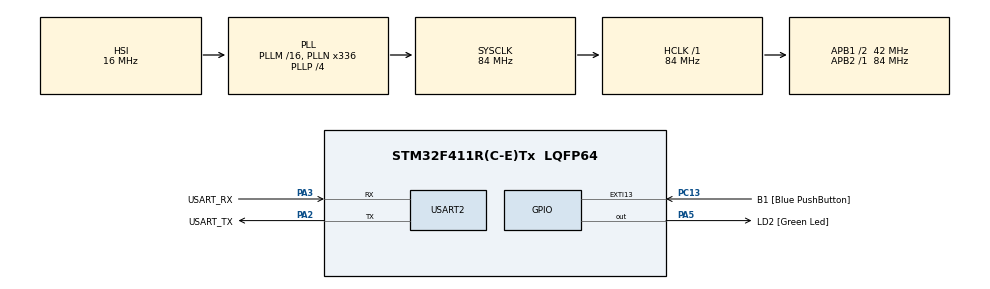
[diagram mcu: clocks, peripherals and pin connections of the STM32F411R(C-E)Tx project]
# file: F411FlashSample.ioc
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Mcu.Family=STM32F4
Mcu.Name=STM32F411R(C-E)Tx
Mcu.Package=LQFP64
NVIC.PriorityGroup=NVIC_PRIORITYGROUP_0
PA13.GPIO_Label=TMS
PA13.Signal=SYS_JTMS-SWDIO
PA14.GPIO_Label=TCK
PA14.Signal=SYS_JTCK-SWCLK
PA2.GPIO_Label=USART_TX
PA2.GPIO_PuPd=GPIO_PULLUP
PA2.Mode=Asynchronous
PA2.Signal=USART2_TX
PA3.GPIO_Label=USART_RX
PA3.GPIO_PuPd=GPIO_PULLUP
PA3.Mode=Asynchronous
PA3.Signal=USART2_RX
PA5.GPIO_Label=LD2 [Green Led]
PA5.Signal=GPIO_Output
PB3.GPIO_Label=SWO
PB3.Signal=SYS_JTDO-SWO
PC13-ANTI_TAMP.GPIO_Label=B1 [Blue PushButton]
PC13-ANTI_TAMP.GPIO_ModeDefaultEXTI=GPIO_MODE_IT_FALLING
PC13-ANTI_TAMP.Signal=GPXTI13
PC14-OSC32_IN.Signal=RCC_OSC32_IN
PC15-OSC32_OUT.Signal=RCC_OSC32_OUT
PH0\ -\ OSC_IN.Signal=RCC_OSC_IN
PH1\ -\ OSC_OUT.Signal=RCC_OSC_OUT
ProjectManager.HeapSize=0x200
ProjectManager.StackSize=0x400
ProjectManager.TargetToolchain=STM32CubeIDE
RCC.48MHZClocksFreq_Value=84000000
RCC.AHBFreq_Value=84000000
RCC.APB1CLKDivider=RCC_HCLK_DIV2
RCC.APB1Freq_Value=42000000
RCC.APB1TimFreq_Value=84000000
RCC.APB2Freq_Value=84000000
RCC.APB2TimFreq_Value=84000000
RCC.CortexFreq_Value=84000000
RCC.FLatency-AdvancedSettings=FLASH_LATENCY_2
RCC.HCLKFreq_Value=84000000
RCC.HSE_VALUE=8000000
RCC.HSI_VALUE=16000000
RCC.LSE_VALUE=32768
RCC.PLLN=336
RCC.PLLP=RCC_PLLP_DIV4
RCC.SYSCLKFreq_VALUE=84000000
RCC.SYSCLKSource=RCC_SYSCLKSOURCE_PLLCLK
RCC.VCOOutputFreq_Value=336000000
USART2.Parity=PARITY_ODD
USART2.VirtualMode=VM_ASYNC
board=NUCLEO-F411RE

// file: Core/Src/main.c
/* USER CODE BEGIN Header */
/**
  ******************************************************************************
  * @file           : main.c
  * @brief          : Main program body
  ******************************************************************************
  * @attention
  *
  * Copyright (c) 2026 STMicroelectronics.
  * All rights reserved.
  *
  * This software is licensed under terms that can be found in the LICENSE file
  * in the root directory of this software component.
  * If no LICENSE file comes with this software, it is provided AS-IS.
  *
  ******************************************************************************
  */
/* USER CODE END Header */
#include "main.h"

/* USER CODE BEGIN PD */
#define FLASH_TIMEOUT_VALUE       50000U /* 50 s */

#define FLASH_USER_START_ADDR   0x0800C000
#define FLASH_USER_END_ADDR (FLASH_USER_START_ADDR + 0x4000 - 1)

/* USER CODE END PD */

UART_HandleTypeDef huart2;

/* USER CODE BEGIN PV */
uint32_t SectorError = 0;

uint32_t UserAddress = 0;

static FLASH_EraseInitTypeDef F411EraseInitStruct;
/* USER CODE END PV */

void SystemClock_Config(void);
static void MX_GPIO_Init(void);
static void MX_USART2_UART_Init(void);
/* USER CODE BEGIN PFP */
void GetChar(uint8_t *pByte);
void userInput();
#define MY_PUTCHAR int __io_putchar(int ch)
/* USER CODE END PFP */

int main(void)
{

  /* MCU Configuration--------------------------------------------------------*/

  /* Reset of all peripherals, Initializes the Flash interface and the Systick. */
  HAL_Init();

  /* Configure the system clock */
  SystemClock_Config();

  /* Initialize all configured peripherals */
  MX_GPIO_Init();
  MX_USART2_UART_Init();

  /* Infinite loop */
  while (1)
  {
	userInput();
  }
}

void SystemClock_Config(void)
{
  RCC_OscInitTypeDef RCC_OscInitStruct = {0};
  RCC_ClkInitTypeDef RCC_ClkInitStruct = {0};

  /** Configure the main internal regulator output voltage
  */
  __HAL_RCC_PWR_CLK_ENABLE();
  __HAL_PWR_VOLTAGESCALING_CONFIG(PWR_REGULATOR_VOLTAGE_SCALE1);

  /** Initializes the RCC Oscillators according to the specified parameters
  * in the RCC_OscInitTypeDef structure.
  */
  RCC_OscInitStruct.OscillatorType = RCC_OSCILLATORTYPE_HSI;
  RCC_OscInitStruct.HSIState = RCC_HSI_ON;
  RCC_OscInitStruct.HSICalibrationValue = RCC_HSICALIBRATION_DEFAULT;
  RCC_OscInitStruct.PLL.PLLState = RCC_PLL_ON;
  RCC_OscInitStruct.PLL.PLLSource = RCC_PLLSOURCE_HSI;
  RCC_OscInitStruct.PLL.PLLM = 16;
  RCC_OscInitStruct.PLL.PLLN = 336;
  RCC_OscInitStruct.PLL.PLLP = RCC_PLLP_DIV4;
  RCC_OscInitStruct.PLL.PLLQ = 4;
  if (HAL_RCC_OscConfig(&RCC_OscInitStruct) != HAL_OK)
  {
    Error_Handler();
  }

  /** Initializes the CPU, AHB and APB buses clocks
  */
  RCC_ClkInitStruct.ClockType = RCC_CLOCKTYPE_HCLK|RCC_CLOCKTYPE_SYSCLK
                              |RCC_CLOCKTYPE_PCLK1|RCC_CLOCKTYPE_PCLK2;
  RCC_ClkInitStruct.SYSCLKSource = RCC_SYSCLKSOURCE_PLLCLK;
  RCC_ClkInitStruct.AHBCLKDivider = RCC_SYSCLK_DIV1;
  RCC_ClkInitStruct.APB1CLKDivider = RCC_HCLK_DIV2;
  RCC_ClkInitStruct.APB2CLKDivider = RCC_HCLK_DIV1;

  if (HAL_RCC_ClockConfig(&RCC_ClkInitStruct, FLASH_LATENCY_2) != HAL_OK)
  {
    Error_Handler();
  }
}

static void MX_USART2_UART_Init(void)
{

  huart2.Instance = USART2;
  huart2.Init.BaudRate = 115200;
  huart2.Init.WordLength = UART_WORDLENGTH_8B;
  huart2.Init.StopBits = UART_STOPBITS_1;
  huart2.Init.Parity = UART_PARITY_ODD;
  huart2.Init.Mode = UART_MODE_TX_RX;
  huart2.Init.HwFlowCtl = UART_HWCONTROL_NONE;
  huart2.Init.OverSampling = UART_OVERSAMPLING_16;
  if (HAL_UART_Init(&huart2) != HAL_OK)
  {
    Error_Handler();
  }

}

static void MX_GPIO_Init(void)
{
  GPIO_InitTypeDef GPIO_InitStruct = {0};

  /* GPIO Ports Clock Enable */
  __HAL_RCC_GPIOC_CLK_ENABLE();
  __HAL_RCC_GPIOH_CLK_ENABLE();
  __HAL_RCC_GPIOA_CLK_ENABLE();
  __HAL_RCC_GPIOB_CLK_ENABLE();

  /*Configure GPIO pin Output Level */
  HAL_GPIO_WritePin(LD2_GPIO_Port, LD2_Pin, GPIO_PIN_RESET);

  /*Configure GPIO pin : B1_Pin */
  GPIO_InitStruct.Pin = B1_Pin;
  GPIO_InitStruct.Mode = GPIO_MODE_IT_FALLING;
  GPIO_InitStruct.Pull = GPIO_NOPULL;
  HAL_GPIO_Init(B1_GPIO_Port, &GPIO_InitStruct);

  /*Configure GPIO pin : LD2_Pin */
  GPIO_InitStruct.Pin = LD2_Pin;
  GPIO_InitStruct.Mode = GPIO_MODE_OUTPUT_PP;
  GPIO_InitStruct.Pull = GPIO_NOPULL;
  GPIO_InitStruct.Speed = GPIO_SPEED_FREQ_LOW;
  HAL_GPIO_Init(LD2_GPIO_Port, &GPIO_InitStruct);

}

/* USER CODE BEGIN 4 */
MY_PUTCHAR
{
	  HAL_UART_Transmit(&huart2, (uint8_t *)&ch, 1, 0xFFFF);

	  return ch;
}

void GetChar(uint8_t *pByte)
{
	  HAL_UART_Receive(&huart2, pByte, 1, 100);
}

void userInput()
{
   uint8_t inputChar = 0;

   GetChar(&inputChar);

   HAL_StatusTypeDef flashStatus = HAL_OK;

   // TODO: set inputchar to upper case use ToUpper()

   if(0 != inputChar)
   {
	 switch(inputChar)
	 {
	 	 case 'H':
	 	 case 'h':
	 	 	 {
	 	 		printf("\n\r help Menu type any of the following letters:\n\r");
	 	 		printf("\n\r 'E': Erase sector 3 \n\r");
	 	 		printf("\n\r 'P': Simple Programming example \n\r");
	 	 	 }
	 		 break;
	 	 case 'E':
	 	 case 'e':
	 		    printf("\n\r 'E': Erase sector 3 \n\r");

	 			F411EraseInitStruct.TypeErase = FLASH_TYPEERASE_SECTORS;
	 			F411EraseInitStruct.Banks = FLASH_BANK_1;

	 			// let's erase sector 3, lower sectors are for our code and we don't want to erase them
	 			F411EraseInitStruct.Sector = FLASH_SECTOR_3;

	 			// we just erase one sector as a test
	 			F411EraseInitStruct.NbSectors = 1;
	 		    flashStatus = HAL_FLASH_Unlock();
	 		    if(HAL_OK != flashStatus)
	 		    {
	 		    	printf("\n\r 'E': Unlock flash failed, status is 0x%d \n\r", flashStatus);
	 		    }
	 		    /* Wait for last operation to be completed */
	 		    flashStatus = FLASH_WaitForLastOperation((uint32_t)FLASH_TIMEOUT_VALUE);

	 		    if(HAL_OK != flashStatus)
	 		    {
	 		    	printf("\n\r 'E': wait for bsy bit failed, status is 0x%d \n\r", flashStatus);
	 		    }

	 		    flashStatus = HAL_FLASHEx_Erase(&F411EraseInitStruct, &SectorError);

	 		    if(HAL_OK != flashStatus)
	 		    {
	 		    	printf("\n\r 'E': Erasing failed, status is 0x%d \n\r", flashStatus);
	 		    }
	 		 break;
	 	 case 'P':
	 	 case 'p':
	 		    printf("\n\r 'P': Simple Programming example \n\r");
	 		    flashStatus = HAL_FLASH_Unlock();

	 		    if(HAL_OK != flashStatus)
	 		    {
	 		    	printf("\n\r 'P': Unlock flash failed, status is 0x%d \n\r", flashStatus);
	 		    }

	 			UserAddress = FLASH_USER_START_ADDR;

	 			while(UserAddress < FLASH_USER_END_ADDR)
	 			{
	 				HAL_FLASH_Program(FLASH_TYPEPROGRAM_WORD, UserAddress, (uint64_t)0xDEED1234);

	 				if(HAL_OK != flashStatus)
	 				{
	 					printf("\n\r 'P': Programming 0x%lx failed, status is 0x%d \n\r", UserAddress, flashStatus);
	 					break;
	 				}
	 				UserAddress += 4;
	 			}

	 		    //flashStatus = HAL_FLASH_Program(FLASH_TYPEPROGRAM_WORD, 0x800C000, (uint64_t)0xABCD1234);

	 		    //if(HAL_OK != flashStatus)
	 		    //{
	 		    //	printf("\n\r 'P': Programming failed, status is 0x%d \n\r", flashStatus);
	 		    //}

	 		    break;
	 	 default:
	 		 break;
	 }

	 inputChar = 0;
   }

}
/* USER CODE END 4 */

void Error_Handler(void)
{
  __disable_irq();
  while (1)
  {
  }
}
